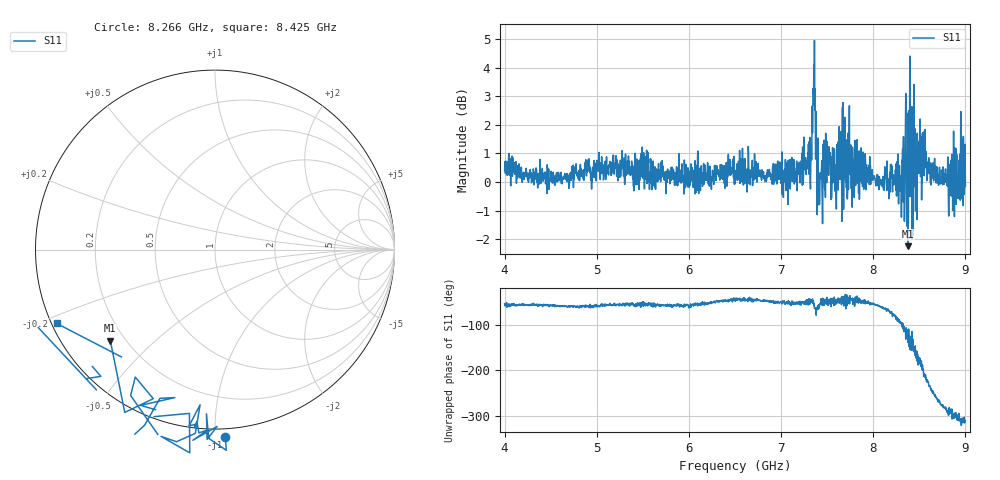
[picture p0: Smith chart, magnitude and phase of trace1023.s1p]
! Created with skrf 1.8.0 (http://scikit-rf.org).
# Hz S RI R 50.0
!freq ReS11 ImS11
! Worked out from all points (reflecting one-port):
!   1601 points, 4 GHz to 9 GHz, reference 50 ohm
!   lowest |S11| = -2.2 dB at 8.375 GHz (marker M1), VSWR 7.81, Z = 7.28 - j18.4 ohm
!   phase of S11 starts at -55 deg and turns -255 deg over the sweep
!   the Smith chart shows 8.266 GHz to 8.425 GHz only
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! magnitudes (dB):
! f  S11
! 4 GHz  0.4
! 4.625 GHz  -0.1
! 5.25 GHz  0.2
! 5.875 GHz  0.3
! 6.5 GHz  -0.1
! 7.125 GHz  0.6
! 7.297 GHz  1.3
! 7.353 GHz  3.1
! 7.369 GHz  3.3
! 7.4 GHz  1.5
! 7.428 GHz  0.2
! 7.509 GHz  0.4
! 7.575 GHz  0.9
! 7.669 GHz  0.5
! 7.703 GHz  0.0
! 7.75 GHz  0.5
! 7.784 GHz  0.2
! 8.316 GHz  0.7
! 8.334 GHz  -0.3
! 8.356 GHz  1.4
! 8.375 GHz  -2.2
! 8.447 GHz  1.8
! 8.459 GHz  -1.0
! 8.544 GHz  1.4
! 8.606 GHz  0.3
! 8.806 GHz  0.4
! 8.956 GHz  0.5
! 9 GHz  -0.1
